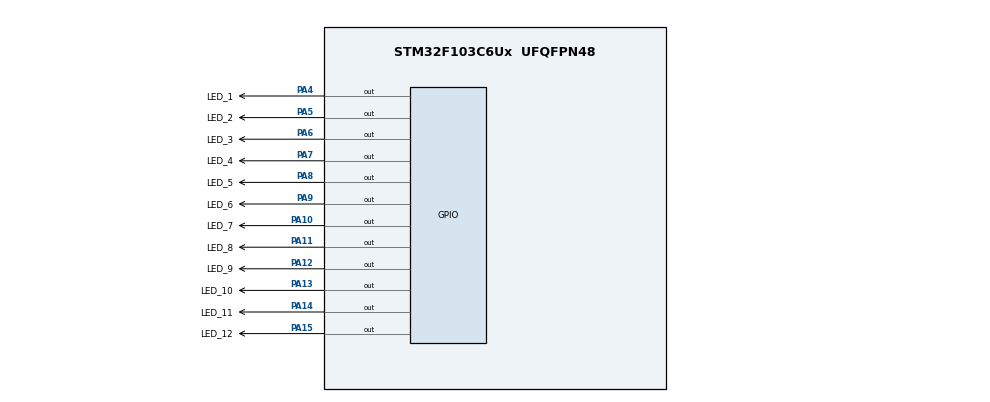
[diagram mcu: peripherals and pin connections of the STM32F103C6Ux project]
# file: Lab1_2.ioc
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Mcu.Family=STM32F1
Mcu.Name=STM32F103C6Ux
Mcu.Package=UFQFPN48
NVIC.PriorityGroup=NVIC_PRIORITYGROUP_4
PA10.GPIO_Label=LED_7
PA10.Signal=GPIO_Output
PA11.GPIO_Label=LED_8
PA11.Signal=GPIO_Output
PA12.GPIO_Label=LED_9
PA12.Signal=GPIO_Output
PA13.GPIO_Label=LED_10
PA13.Signal=GPIO_Output
PA14.GPIO_Label=LED_11
PA14.Signal=GPIO_Output
PA15.GPIO_Label=LED_12
PA15.Signal=GPIO_Output
PA4.GPIO_Label=LED_1
PA4.Signal=GPIO_Output
PA5.GPIO_Label=LED_2
PA5.Signal=GPIO_Output
PA6.GPIO_Label=LED_3
PA6.Signal=GPIO_Output
PA7.GPIO_Label=LED_4
PA7.Signal=GPIO_Output
PA8.GPIO_Label=LED_5
PA8.Signal=GPIO_Output
PA9.GPIO_Label=LED_6
PA9.Signal=GPIO_Output
ProjectManager.HeapSize=0x200
ProjectManager.StackSize=0x400
ProjectManager.TargetToolchain=STM32CubeIDE
RCC.APB1Freq_Value=8000000
RCC.APB2Freq_Value=8000000
VP_SYS_VS_ND.Mode=No_Debug
board=custom

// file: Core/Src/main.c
/* USER CODE BEGIN Header */
/**
  ******************************************************************************
  * @file           : main.c
  * @brief          : Main program body
  ******************************************************************************
  * @attention
  *
  * <h2><center>&copy; Copyright (c) 2022 STMicroelectronics.
  * All rights reserved.</center></h2>
  *
  * This software component is licensed by ST under BSD 3-Clause license,
  * the "License"; You may not use this file except in compliance with the
  * License. You may obtain a copy of the License at:
  *                        opensource.org/licenses/BSD-3-Clause
  *
  ******************************************************************************
  */
/* USER CODE END Header */
#include "main.h"

void SystemClock_Config(void);
static void MX_GPIO_Init(void);

int main(void)
{

  /* MCU Configuration--------------------------------------------------------*/

  /* Reset of all peripherals, Initializes the Flash interface and the Systick. */
  HAL_Init();

  /* Configure the system clock */
  SystemClock_Config();

  /* Initialize all configured peripherals */
  MX_GPIO_Init();

  /* Infinite loop */
  /* USER CODE BEGIN WHILE */
  int count_second = 0;
  int count_minute = 0;
  int count_hour = 0;
  while (1)
  {
	  clearAllClock();

	  setNumberOnClock(count_second/5);

	  setNumberOnClock(count_minute/5);

	  setNumberOnClock(count_hour);

	  count_second ++;
	  if(count_second >= 60){
		  count_second = 0;
		  count_minute ++;
	  }
	  if(count_minute >= 12){
		  count_minute = 0;
		  count_hour ++;
	  }
	  if(count_hour >= 12){
		  count_hour = 0;
	  }

	  HAL_Delay(1000);
    /* USER CODE END WHILE */

  }
}

void SystemClock_Config(void)
{
  RCC_OscInitTypeDef RCC_OscInitStruct = {0};
  RCC_ClkInitTypeDef RCC_ClkInitStruct = {0};

  /** Initializes the RCC Oscillators according to the specified parameters
  * in the RCC_OscInitTypeDef structure.
  */
  RCC_OscInitStruct.OscillatorType = RCC_OSCILLATORTYPE_HSI;
  RCC_OscInitStruct.HSIState = RCC_HSI_ON;
  RCC_OscInitStruct.HSICalibrationValue = RCC_HSICALIBRATION_DEFAULT;
  RCC_OscInitStruct.PLL.PLLState = RCC_PLL_NONE;
  if (HAL_RCC_OscConfig(&RCC_OscInitStruct) != HAL_OK)
  {
    Error_Handler();
  }
  /** Initializes the CPU, AHB and APB buses clocks
  */
  RCC_ClkInitStruct.ClockType = RCC_CLOCKTYPE_HCLK|RCC_CLOCKTYPE_SYSCLK
                              |RCC_CLOCKTYPE_PCLK1|RCC_CLOCKTYPE_PCLK2;
  RCC_ClkInitStruct.SYSCLKSource = RCC_SYSCLKSOURCE_HSI;
  RCC_ClkInitStruct.AHBCLKDivider = RCC_SYSCLK_DIV1;
  RCC_ClkInitStruct.APB1CLKDivider = RCC_HCLK_DIV1;
  RCC_ClkInitStruct.APB2CLKDivider = RCC_HCLK_DIV1;

  if (HAL_RCC_ClockConfig(&RCC_ClkInitStruct, FLASH_LATENCY_0) != HAL_OK)
  {
    Error_Handler();
  }
}

static void MX_GPIO_Init(void)
{
  GPIO_InitTypeDef GPIO_InitStruct = {0};

  /* GPIO Ports Clock Enable */
  __HAL_RCC_GPIOA_CLK_ENABLE();

  /*Configure GPIO pin Output Level */
  HAL_GPIO_WritePin(GPIOA, LED_1_Pin|LED_2_Pin|LED_3_Pin|LED_4_Pin
                          |LED_5_Pin|LED_6_Pin|LED_7_Pin|LED_8_Pin
                          |LED_9_Pin|LED_10_Pin|LED_11_Pin|LED_12_Pin, GPIO_PIN_RESET);

  /*Configure GPIO pins : LED_1_Pin LED_2_Pin LED_3_Pin LED_4_Pin
                           LED_5_Pin LED_6_Pin LED_7_Pin LED_8_Pin
                           LED_9_Pin LED_10_Pin LED_11_Pin LED_12_Pin */
  GPIO_InitStruct.Pin = LED_1_Pin|LED_2_Pin|LED_3_Pin|LED_4_Pin
                          |LED_5_Pin|LED_6_Pin|LED_7_Pin|LED_8_Pin
                          |LED_9_Pin|LED_10_Pin|LED_11_Pin|LED_12_Pin;
  GPIO_InitStruct.Mode = GPIO_MODE_OUTPUT_PP;
  GPIO_InitStruct.Pull = GPIO_NOPULL;
  GPIO_InitStruct.Speed = GPIO_SPEED_FREQ_LOW;
  HAL_GPIO_Init(GPIOA, &GPIO_InitStruct);

}

/* USER CODE BEGIN 4 */
void clearAllClock(){
	GPIOA->ODR = ~(0x0000);
}
void setNumberOnClock(int num){
	if(num == 0) HAL_GPIO_WritePin ( LED_12_GPIO_Port , LED_12_Pin , RESET ) ;
	if(num == 1) HAL_GPIO_WritePin ( LED_1_GPIO_Port , LED_1_Pin , RESET ) ;
	if(num == 2) HAL_GPIO_WritePin ( LED_2_GPIO_Port , LED_2_Pin , RESET ) ;
	if(num == 3) HAL_GPIO_WritePin ( LED_3_GPIO_Port , LED_3_Pin , RESET ) ;
	if(num == 4) HAL_GPIO_WritePin ( LED_4_GPIO_Port , LED_4_Pin , RESET ) ;
	if(num == 5) HAL_GPIO_WritePin ( LED_5_GPIO_Port , LED_5_Pin , RESET ) ;
	if(num == 6) HAL_GPIO_WritePin ( LED_6_GPIO_Port , LED_6_Pin , RESET ) ;
	if(num == 7) HAL_GPIO_WritePin ( LED_7_GPIO_Port , LED_7_Pin , RESET ) ;
	if(num == 8) HAL_GPIO_WritePin ( LED_8_GPIO_Port , LED_8_Pin , RESET ) ;
	if(num == 9) HAL_GPIO_WritePin ( LED_9_GPIO_Port , LED_9_Pin , RESET ) ;
	if(num == 10) HAL_GPIO_WritePin ( LED_10_GPIO_Port , LED_10_Pin , RESET ) ;
	if(num == 11) HAL_GPIO_WritePin ( LED_11_GPIO_Port , LED_11_Pin , RESET ) ;

}
void clearNumberOnClock(int num){
	if(num == 0) HAL_GPIO_WritePin ( LED_12_GPIO_Port , LED_12_Pin , SET ) ;
	if(num == 1) HAL_GPIO_WritePin ( LED_1_GPIO_Port , LED_1_Pin , SET ) ;
	if(num == 2) HAL_GPIO_WritePin ( LED_2_GPIO_Port , LED_2_Pin , SET ) ;
	if(num == 3) HAL_GPIO_WritePin ( LED_3_GPIO_Port , LED_3_Pin , SET ) ;
	if(num == 4) HAL_GPIO_WritePin ( LED_4_GPIO_Port , LED_4_Pin , SET ) ;
	if(num == 5) HAL_GPIO_WritePin ( LED_5_GPIO_Port , LED_5_Pin , SET ) ;
	if(num == 6) HAL_GPIO_WritePin ( LED_6_GPIO_Port , LED_6_Pin , SET ) ;
	if(num == 7) HAL_GPIO_WritePin ( LED_7_GPIO_Port , LED_7_Pin , SET ) ;
	if(num == 8) HAL_GPIO_WritePin ( LED_8_GPIO_Port , LED_8_Pin , SET ) ;
	if(num == 9) HAL_GPIO_WritePin ( LED_9_GPIO_Port , LED_9_Pin , SET ) ;
	if(num == 10) HAL_GPIO_WritePin ( LED_10_GPIO_Port , LED_10_Pin , SET ) ;
	if(num == 11) HAL_GPIO_WritePin ( LED_11_GPIO_Port , LED_11_Pin , SET ) ;
}
/* USER CODE END 4 */

void Error_Handler(void)
{
  __disable_irq();
  while (1)
  {
  }
}

/************************ (C) COPYRIGHT STMicroelectronics *****END OF FILE****/
